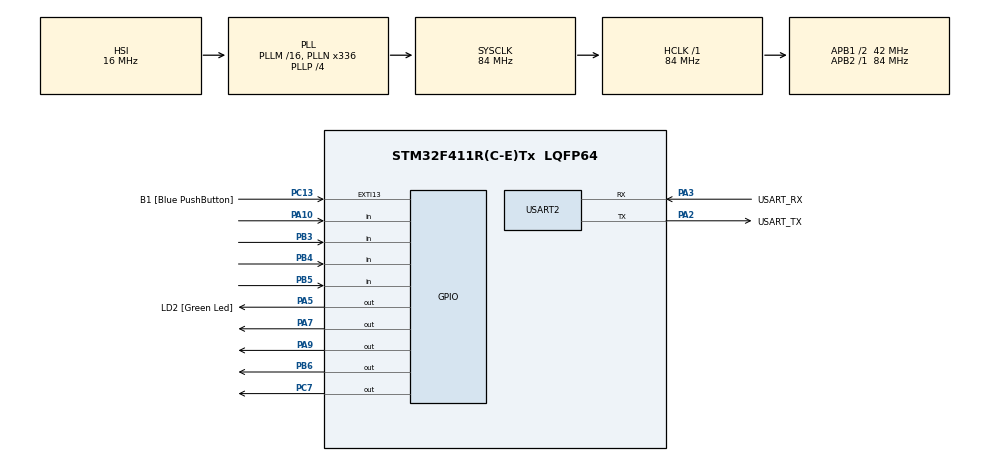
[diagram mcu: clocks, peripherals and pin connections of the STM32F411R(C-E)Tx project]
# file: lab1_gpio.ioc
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Mcu.Family=STM32F4
Mcu.Name=STM32F411R(C-E)Tx
Mcu.Package=LQFP64
NVIC.PriorityGroup=NVIC_PRIORITYGROUP_0
PA10.Signal=GPIO_Input
PA13.GPIO_Label=TMS
PA13.Mode=Serial_Wire
PA13.Signal=SYS_JTMS-SWDIO
PA14.GPIO_Label=TCK
PA14.Mode=Serial_Wire
PA14.Signal=SYS_JTCK-SWCLK
PA2.GPIO_Label=USART_TX
PA2.Mode=Asynchronous
PA2.Signal=USART2_TX
PA3.GPIO_Label=USART_RX
PA3.Mode=Asynchronous
PA3.Signal=USART2_RX
PA5.GPIO_Label=LD2 [Green Led]
PA5.Signal=GPIO_Output
PA7.Signal=GPIO_Output
PA9.Signal=GPIO_Output
PB3.Signal=GPIO_Input
PB4.Signal=GPIO_Input
PB5.Signal=GPIO_Input
PB6.Signal=GPIO_Output
PC13-ANTI_TAMP.GPIO_Label=B1 [Blue PushButton]
PC13-ANTI_TAMP.GPIO_ModeDefaultEXTI=GPIO_MODE_IT_FALLING
PC13-ANTI_TAMP.Signal=GPXTI13
PC14-OSC32_IN.Mode=LSE-External-Oscillator
PC14-OSC32_IN.Signal=RCC_OSC32_IN
PC15-OSC32_OUT.Mode=LSE-External-Oscillator
PC15-OSC32_OUT.Signal=RCC_OSC32_OUT
PC7.Signal=GPIO_Output
PH0\ -\ OSC_IN.Mode=HSE-External-Clock-Source
PH0\ -\ OSC_IN.Signal=RCC_OSC_IN
PH1\ -\ OSC_OUT.Mode=HSE-External-Clock-Source
PH1\ -\ OSC_OUT.Signal=RCC_OSC_OUT
ProjectManager.HeapSize=0x200
ProjectManager.StackSize=0x400
ProjectManager.TargetToolchain=STM32CubeIDE
RCC.48MHZClocksFreq_Value=84000000
RCC.AHBFreq_Value=84000000
RCC.APB1CLKDivider=RCC_HCLK_DIV2
RCC.APB1Freq_Value=42000000
RCC.APB1TimFreq_Value=84000000
RCC.APB2Freq_Value=84000000
RCC.APB2TimFreq_Value=84000000
RCC.CortexFreq_Value=84000000
RCC.FLatency-AdvancedSettings=FLASH_LATENCY_2
RCC.HCLKFreq_Value=84000000
RCC.HSE_VALUE=8000000
RCC.HSI_VALUE=16000000
RCC.PLLN=336
RCC.PLLP=RCC_PLLP_DIV4
RCC.SYSCLKFreq_VALUE=84000000
RCC.SYSCLKSource=RCC_SYSCLKSOURCE_PLLCLK
RCC.VCOOutputFreq_Value=336000000
USART2.VirtualMode=VM_ASYNC
board=NUCLEO-F411RE

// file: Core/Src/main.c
/* USER CODE BEGIN Header */
/**
  ******************************************************************************
  * @file           : main.c
  * @brief          : Main program body
  ******************************************************************************
  * @attention
  *
  * <h2><center>&copy; Copyright (c) 2021 STMicroelectronics.
  * All rights reserved.</center></h2>
  *
  * This software component is licensed by ST under BSD 3-Clause license,
  * the "License"; You may not use this file except in compliance with the
  * License. You may obtain a copy of the License at:
  *                        opensource.org/licenses/BSD-3-Clause
  *
  ******************************************************************************
  */
/* USER CODE END Header */
#include "main.h"

UART_HandleTypeDef huart2;

void SystemClock_Config(void);
static void MX_GPIO_Init(void);
static void MX_USART2_UART_Init(void);

int main(void)
{

  /* MCU Configuration--------------------------------------------------------*/

  /* Reset of all peripherals, Initializes the Flash interface and the Systick. */
  HAL_Init();

  /* Configure the system clock */
  SystemClock_Config();

  /* Initialize all configured peripherals */
  MX_GPIO_Init();
  MX_USART2_UART_Init();
  /* USER CODE BEGIN 2 */
   uint32_t blink=0;
   uint32_t led=0;
   uint32_t timestamp=0;
   uint32_t timestamp2=0;
   uint8_t s[2]={0};
   uint8_t s1[2]={0};
   uint8_t s2[2]={0};
   uint8_t n=1;
   uint8_t c=0;
   uint8_t state=0;
   uint32_t timesampling=0;
    enum{f05 =1000,f1=500,f2=250,f3=167,samplingtime=100,first=0,second,on05=0,off05,on15,off15};
  /* USER CODE END 2 */

  /* Infinite loop */
  /* USER CODE BEGIN WHILE */
  while (1)
  {
	  if(HAL_GetTick()-timesampling>=samplingtime){
		  timesampling=HAL_GetTick();

	  s[0]=HAL_GPIO_ReadPin(GPIOA, GPIO_PIN_10);

	  if (s[1]== GPIO_PIN_RESET && s[0]==GPIO_PIN_SET)
	  	  {
		  if(blink==0){
			  blink=f05;
}
	  else if(blink==f05){
			  blink=f1;
		  }
		  else if(blink==f1){
			  blink=f2;
		  }
		  else if(blink==f2){
			  blink=f3;
		  }
		  else if(blink==f3){
			  blink=f05;
		  }
		  else {
			  blink=f05;
		  }
	  	  }
	  	  s[1]=s[0];
	  	  if (HAL_GetTick()-timestamp>=blink)
	  	  {
	  		  timestamp=HAL_GetTick();
	  		  if (HAL_GPIO_ReadPin(GPIOA, GPIO_PIN_9)==GPIO_PIN_SET)
	  		  {
	  			  HAL_GPIO_WritePin(GPIOA, GPIO_PIN_9, GPIO_PIN_RESET);
	  		  }
	  		  else{
	  			  HAL_GPIO_WritePin(GPIOA, GPIO_PIN_9, GPIO_PIN_SET);
	  		  }
	  	  }

	  	s1[1]=HAL_GPIO_ReadPin(GPIOB, GPIO_PIN_3);
	  	//HAL_GPIO_WritePin(GPIOC, GPIO_PIN_7, GPIO_PIN_RESET);
	  	 if (s1[1]== GPIO_PIN_RESET && s1[0]==GPIO_PIN_SET)
	  	{
	  		 n=n+1;
	  		 if (n%2==0){
	  			 HAL_GPIO_WritePin(GPIOC, GPIO_PIN_7, GPIO_PIN_SET);
	  		 }
	  		 else{
	  			 HAL_GPIO_WritePin(GPIOC, GPIO_PIN_7, GPIO_PIN_RESET);
	  		}
	  	}
	  	s1[0]=s1[1];

	   	s2[1]=HAL_GPIO_ReadPin(GPIOB, GPIO_PIN_5);
	   	if (s2[1]== GPIO_PIN_RESET && s2[0]==GPIO_PIN_SET)
	   	{c =c+1;
	   	if(c%2==0){
	   		led = first;}
	   	else {
	   		led = second;}
	   	}

	   	switch(led){
	   	case first:
	   		switch(state){
	   		case on05:
	   			if (HAL_GetTick()-timestamp2>=500  )
	   			{timestamp2=HAL_GetTick();
	   			state = off15;
	   			}
	   			else{
	   				HAL_GPIO_WritePin(GPIOB, GPIO_PIN_6, GPIO_PIN_RESET);
	   			}
	   		break;

	   		case off15:
	   			if (HAL_GetTick()-timestamp2>=1500  )
	   			{timestamp2=HAL_GetTick();
	   			state = on05;}
	   			else{
	   			HAL_GPIO_WritePin(GPIOB, GPIO_PIN_6, GPIO_PIN_SET);
	   			}
	   		break;
	   		}
	   	break;

	   	case second:
	   		switch(state){
	   		case on05:
	   			if (HAL_GetTick()-timestamp2>=1500  )
	   				{timestamp2=HAL_GetTick();
	   				state = off15;}
	   			else{HAL_GPIO_WritePin(GPIOB, GPIO_PIN_6, GPIO_PIN_RESET);}

	   		break;
	   		case off15:
	   			if (HAL_GetTick()-timestamp2>=500  )
	   			{timestamp2=HAL_GetTick();
	   			state = on05;}
	   			else{
	   			HAL_GPIO_WritePin(GPIOB, GPIO_PIN_6, GPIO_PIN_SET);
	   			}
	   		break;
	   		}
	   	break;
	   	}
	   	s2[0]=s2[1];

//	   	if (s2[1]== GPIO_PIN_RESET && s2[0]==GPIO_PIN_SET)
//		  	{
//			 c =c+1;
//			 if(c%2==0){
//				 if (HAL_GetTick()-timestamp2>=500 && HAL_GetTick()-timestamp2<1500 )
//				 				{
//				 	   			timestamp2=HAL_GetTick();
//				 	 			HAL_GPIO_WritePin(GPIOB, GPIO_PIN_6, GPIO_PIN_SET);}
//
//				 	   	else{
//				 	   		HAL_GPIO_WritePin(GPIOB, GPIO_PIN_6, GPIO_PIN_RESET);
//				 	   	}
//				  }
//			 else {
//				 if (HAL_GetTick()-timestamp2>=t05 && HAL_GetTick()-timestamp2<t15 )
//				 				{
//				 	   			timestamp2=HAL_GetTick();
//				 	 			HAL_GPIO_WritePin(GPIOB, GPIO_PIN_6, GPIO_PIN_RESET);}
//
//				 	   	else{
//				 	   		HAL_GPIO_WritePin(GPIOB, GPIO_PIN_6, GPIO_PIN_SET);
//				 	   	}
//			 }
//		  	}
		 s2[0]=s2[1];

    /* USER CODE END WHILE */

  }
  }
}

void SystemClock_Config(void)
{
  RCC_OscInitTypeDef RCC_OscInitStruct = {0};
  RCC_ClkInitTypeDef RCC_ClkInitStruct = {0};

  /** Configure the main internal regulator output voltage
  */
  __HAL_RCC_PWR_CLK_ENABLE();
  __HAL_PWR_VOLTAGESCALING_CONFIG(PWR_REGULATOR_VOLTAGE_SCALE1);
  /** Initializes the RCC Oscillators according to the specified parameters
  * in the RCC_OscInitTypeDef structure.
  */
  RCC_OscInitStruct.OscillatorType = RCC_OSCILLATORTYPE_HSI;
  RCC_OscInitStruct.HSIState = RCC_HSI_ON;
  RCC_OscInitStruct.HSICalibrationValue = RCC_HSICALIBRATION_DEFAULT;
  RCC_OscInitStruct.PLL.PLLState = RCC_PLL_ON;
  RCC_OscInitStruct.PLL.PLLSource = RCC_PLLSOURCE_HSI;
  RCC_OscInitStruct.PLL.PLLM = 16;
  RCC_OscInitStruct.PLL.PLLN = 336;
  RCC_OscInitStruct.PLL.PLLP = RCC_PLLP_DIV4;
  RCC_OscInitStruct.PLL.PLLQ = 4;
  if (HAL_RCC_OscConfig(&RCC_OscInitStruct) != HAL_OK)
  {
    Error_Handler();
  }
  /** Initializes the CPU, AHB and APB buses clocks
  */
  RCC_ClkInitStruct.ClockType = RCC_CLOCKTYPE_HCLK|RCC_CLOCKTYPE_SYSCLK
                              |RCC_CLOCKTYPE_PCLK1|RCC_CLOCKTYPE_PCLK2;
  RCC_ClkInitStruct.SYSCLKSource = RCC_SYSCLKSOURCE_PLLCLK;
  RCC_ClkInitStruct.AHBCLKDivider = RCC_SYSCLK_DIV1;
  RCC_ClkInitStruct.APB1CLKDivider = RCC_HCLK_DIV2;
  RCC_ClkInitStruct.APB2CLKDivider = RCC_HCLK_DIV1;

  if (HAL_RCC_ClockConfig(&RCC_ClkInitStruct, FLASH_LATENCY_2) != HAL_OK)
  {
    Error_Handler();
  }
}

static void MX_USART2_UART_Init(void)
{

  huart2.Instance = USART2;
  huart2.Init.BaudRate = 115200;
  huart2.Init.WordLength = UART_WORDLENGTH_8B;
  huart2.Init.StopBits = UART_STOPBITS_1;
  huart2.Init.Parity = UART_PARITY_NONE;
  huart2.Init.Mode = UART_MODE_TX_RX;
  huart2.Init.HwFlowCtl = UART_HWCONTROL_NONE;
  huart2.Init.OverSampling = UART_OVERSAMPLING_16;
  if (HAL_UART_Init(&huart2) != HAL_OK)
  {
    Error_Handler();
  }

}

static void MX_GPIO_Init(void)
{
  GPIO_InitTypeDef GPIO_InitStruct = {0};

  /* GPIO Ports Clock Enable */
  __HAL_RCC_GPIOC_CLK_ENABLE();
  __HAL_RCC_GPIOH_CLK_ENABLE();
  __HAL_RCC_GPIOA_CLK_ENABLE();
  __HAL_RCC_GPIOB_CLK_ENABLE();

  /*Configure GPIO pin Output Level */
  HAL_GPIO_WritePin(GPIOA, LD2_Pin|GPIO_PIN_7|GPIO_PIN_9, GPIO_PIN_RESET);

  /*Configure GPIO pin Output Level */
  HAL_GPIO_WritePin(GPIOC, GPIO_PIN_7, GPIO_PIN_RESET);

  /*Configure GPIO pin Output Level */
  HAL_GPIO_WritePin(GPIOB, GPIO_PIN_6, GPIO_PIN_RESET);

  /*Configure GPIO pin : B1_Pin */
  GPIO_InitStruct.Pin = B1_Pin;
  GPIO_InitStruct.Mode = GPIO_MODE_IT_FALLING;
  GPIO_InitStruct.Pull = GPIO_NOPULL;
  HAL_GPIO_Init(B1_GPIO_Port, &GPIO_InitStruct);

  /*Configure GPIO pins : LD2_Pin PA7 PA9 */
  GPIO_InitStruct.Pin = LD2_Pin|GPIO_PIN_7|GPIO_PIN_9;
  GPIO_InitStruct.Mode = GPIO_MODE_OUTPUT_PP;
  GPIO_InitStruct.Pull = GPIO_NOPULL;
  GPIO_InitStruct.Speed = GPIO_SPEED_FREQ_LOW;
  HAL_GPIO_Init(GPIOA, &GPIO_InitStruct);

  /*Configure GPIO pin : PC7 */
  GPIO_InitStruct.Pin = GPIO_PIN_7;
  GPIO_InitStruct.Mode = GPIO_MODE_OUTPUT_PP;
  GPIO_InitStruct.Pull = GPIO_NOPULL;
  GPIO_InitStruct.Speed = GPIO_SPEED_FREQ_LOW;
  HAL_GPIO_Init(GPIOC, &GPIO_InitStruct);

  /*Configure GPIO pin : PA10 */
  GPIO_InitStruct.Pin = GPIO_PIN_10;
  GPIO_InitStruct.Mode = GPIO_MODE_INPUT;
  GPIO_InitStruct.Pull = GPIO_NOPULL;
  HAL_GPIO_Init(GPIOA, &GPIO_InitStruct);

  /*Configure GPIO pins : PB3 PB4 PB5 */
  GPIO_InitStruct.Pin = GPIO_PIN_3|GPIO_PIN_4|GPIO_PIN_5;
  GPIO_InitStruct.Mode = GPIO_MODE_INPUT;
  GPIO_InitStruct.Pull = GPIO_NOPULL;
  HAL_GPIO_Init(GPIOB, &GPIO_InitStruct);

  /*Configure GPIO pin : PB6 */
  GPIO_InitStruct.Pin = GPIO_PIN_6;
  GPIO_InitStruct.Mode = GPIO_MODE_OUTPUT_PP;
  GPIO_InitStruct.Pull = GPIO_NOPULL;
  GPIO_InitStruct.Speed = GPIO_SPEED_FREQ_LOW;
  HAL_GPIO_Init(GPIOB, &GPIO_InitStruct);

}

void Error_Handler(void)
{
  __disable_irq();
  while (1)
  {
  }
}

/************************ (C) COPYRIGHT STMicroelectronics *****END OF FILE****/
